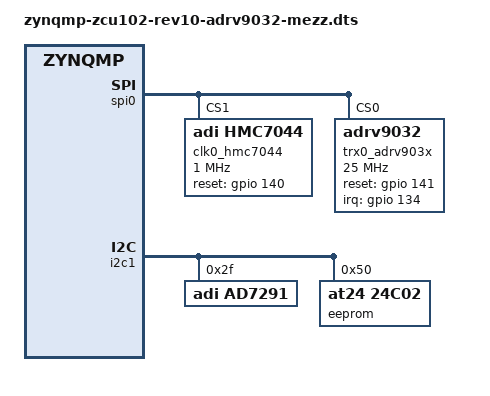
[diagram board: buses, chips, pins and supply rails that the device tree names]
// SPDX-License-Identifier: GPL-2.0
/*
 * Analog Devices ADRV903X
 * https://wiki.analog.com/resources/eval/user-guides/adrv903x
 * https://wiki.analog.com/resources/tools-software/linux-drivers/iio-transceiver/adrv903x
 *
 * hdl_project: <adrv903x/zcu102>
 * board_revision: <>
 *
 * Copyright (C) 2020-2025 Analog Devices Inc.
 */
#include "zynqmp-zcu102-rev1.0.dts"
#include <dt-bindings/interrupt-controller/irq.h>
#include <dt-bindings/iio/adc/adi,adrv903x.h>

#include <dt-bindings/iio/frequency/ad9528.h>
#include <dt-bindings/iio/frequency/hmc7044.h>
#include <dt-bindings/gpio/gpio.h>
#include <dt-bindings/jesd204/adxcvr.h>

&spi0 {
	status = "okay";

	clk0_hmc7044: hmc7044@1 {
		#address-cells = <1>;
		#size-cells = <0>;
		#clock-cells = <1>;
		compatible = "adi,hmc7044";
		reg = <1>;
		spi-max-frequency = <1000000>;

		jesd204-device;
		#jesd204-cells = <2>;
		jesd204-sysref-provider;

		//adi,jesd204-max-sysref-frequency-hz = <2000000>; /* 2 MHz */

		adi,pll1-clkin-frequencies = <122880000 0 0 0>;
		adi,vcxo-frequency = <122880000>;

		adi,pll1-ref-prio-ctrl = <0xE4>; /* prefer CLKIN0 -> CLKIN1 -> CLKIN2 -> CLKIN3 */
		adi,pll1-ref-autorevert-enable;

		adi,pll1-loop-bandwidth-hz = <200>;
		adi,pfd1-maximum-limit-frequency-hz = <30720000>;
		adi,pll1-charge-pump-current-ua = <1920>;

		adi,pll2-output-frequency = <2949120000>;

		adi,sysref-timer-divider = <128>;
		adi,pulse-generator-mode = <HMC7044_PULSE_GEN_8_PULSE>;

		adi,clkin0-buffer-mode  = <0x07>;
		adi,clkin1-buffer-mode  = <0x07>;
		adi,oscin-buffer-mode = <0x15>;

		adi,gpi-controls = <0x00 0x00 0x00 0x00>;
		adi,gpo-controls = <0x37 0x33 0x00 0x00>;

		clock-output-names =
		"hmc7044_out0", "hmc7044_out1", "hmc7044_out2",
		"hmc7044_out3", "hmc7044_out4", "hmc7044_out5",
		"hmc7044_out6", "hmc7044_out7", "hmc7044_out8",
		"hmc7044_out9", "hmc7044_out10", "hmc7044_out11",
		"hmc7044_out12", "hmc7044_out13";

		hmc7044_c0: channel@0 {
			reg = <0>;
			adi,extended-name = "DEV_SYSREF";
			adi,divider = <6>;
			adi,driver-mode = <HMC7044_DRIVER_MODE_LVDS>;
		};
		hmc7044_c1: channel@1 {
			reg = <1>;
			adi,extended-name = "DEV_CLK";
			adi,divider = <6>;
			adi,driver-mode = <HMC7044_DRIVER_MODE_LVDS>;
		};
		hmc7044_c6: channel@6 {
			reg = <6>;
			adi,extended-name = "FPGA_CORE_REFCLK";
			adi,divider = <12>;
			adi,driver-mode = <HMC7044_DRIVER_MODE_LVDS>;
		};
		hmc7044_c7: channel@7 {
			reg = <7>;
			adi,extended-name = "FPGA_CORE_SYSREF";
			adi,divider = <6>;
			adi,driver-mode = <HMC7044_DRIVER_MODE_LVDS>;
		};
		hmc7044_c12: channel@12 {
			reg = <12>;
			adi,extended-name = "FPGA_REFCLK";
			adi,divider = <6>;
			adi,driver-mode = <HMC7044_DRIVER_MODE_LVDS>;
		};
	};

	trx0_adrv903x: adrv903x-phy@0 {
		compatible = "adrv9032";
		reg = <0>;

		#address-cells = <1>;
		#size-cells = <0>;

		/* SPI Setup */
		spi-max-frequency = <25000000>;

		interrupt-parent = <&gpio>;
		interrupts = <134 IRQ_TYPE_EDGE_RISING>; /* adrv903x_gpint1 - CHECK */

		/* Clocks */
		clocks = <&clk0_hmc7044 1>;

		clock-names = "dev_clk";

		clock-output-names = "rx_sampl_clk", "tx_sampl_clk";
		#clock-cells = <1>;

		jesd204-device;
		#jesd204-cells = <2>;
		jesd204-top-device = <0>; /* This is the TOP device */
		jesd204-link-ids = <DEFRAMER0_LINK_TX FRAMER0_LINK_RX>;

		jesd204-inputs =
			<&axi_adrv903x_rx_jesd 0 FRAMER0_LINK_RX>,
			<&axi_adrv903x_core_tx 0 DEFRAMER0_LINK_TX>;

		adi,device-config-name = "ADRV9030_DeviceProfileTest.bin";
		adi,arm-firmware-name = "ADRV9030_FW.bin";
		adi,stream-firmware-name = "ADRV9030_stream_image.bin";
		adi,rx-gaintable-names = "ADRV9030_RxGainTable.csv";
		adi,rx-gaintable-channel-masks = <0xFF>;
		//adi,tx-attntable-names = "ADRV903X_TxAttenTable.csv";
		//adi,tx-attntable-channel-masks = <0x0F>;
	};
};

&i2c1 {
	i2c-mux@75 {
		i2c@1 { /* HPC1 */
			#address-cells = <1>;
			#size-cells = <0>;
			reg = <1>;
			/* HPC0_IIC */
			ad7291@2f {
				compatible = "adi,ad7291";
				reg = <0x2f>;
			};

			eeprom@50 {
				compatible = "at24,24c02";
				reg = <0x50>;
			};
		};
	};
};


/ {
	fpga_axi: fpga-axi@0 {
		interrupt-parent = <&gic>;
		compatible = "simple-bus";
		#address-cells = <0x1>;
		#size-cells = <0x1>;
		ranges = <0 0 0 0xffffffff>;

		rx_dma: dma@9c400000 {
			compatible = "adi,axi-dmac-1.00.a";
			reg = <0x9c400000 0x1000>;
			#dma-cells = <1>;
			#clock-cells = <0>;
			dma-coherent;
			interrupts = <0 110 IRQ_TYPE_LEVEL_HIGH>;
			clocks = <&zynqmp_clk 73>;
		};

		tx_dma: dma@9c420000  {
			compatible = "adi,axi-dmac-1.00.a";
			reg = <0x9c420000 0x1000>;
			#dma-cells = <1>;
			#clock-cells = <0>;
			dma-coherent;
			interrupts = <0 109 IRQ_TYPE_LEVEL_HIGH>;
			clocks = <&zynqmp_clk 73>;
		};

		axi_rx_clkgen: axi-clkgen@83c10000 {
			compatible = "adi,axi-clkgen-2.00.a";
			reg = <0x83c10000 0x10000>;
			#clock-cells = <0>;
			clocks = <&clk0_hmc7044 6>, <&zynqmp_clk 71>;
			clock-names = "clkin1", "s_axi_aclk";
			clock-output-names = "axi_rx_clkgen";
		};

		axi_tx_clkgen: axi-clkgen@83c00000 {
			compatible = "adi,axi-clkgen-2.00.a";
			reg = <0x83c00000 0x10000>;
			#clock-cells = <0>;
			clocks = <&clk0_hmc7044 6>, <&zynqmp_clk 71>;
			clock-names = "clkin1", "s_axi_aclk";
			clock-output-names = "axi_tx_clkgen";
		};

		axi_adrv903x_core_rx: axi-adrv903x-rx-hpc@84a00000 {
			compatible = "adi,axi-adc-10.0.a";
			reg = <0x84a00000 0x6000>;
			dmas = <&rx_dma 0>;
			dma-names = "rx";
			spibus-connected = <&trx0_adrv903x>;
		};

		axi_adrv903x_core_tx: axi-adrv903x-tx-hpc@84a04000 {
			compatible = "adi,axi-adrv903x-tx-1.0";
			reg = <0x84a04000 0x2000>;
			dmas = <&tx_dma 0>;
			dma-names = "tx";
			clocks = <&trx0_adrv903x 1>;
			clock-names = "sampl_clk";
			adi,axi-pl-fifo-enable;
			adi,axi-data-offload-connected = <&axi_data_offload_tx>;

			jesd204-device;
			#jesd204-cells = <2>;
			jesd204-inputs = <&axi_adrv903x_tx_jesd 0 DEFRAMER0_LINK_TX>;
		};

		axi_adrv903x_rx_jesd: axi-jesd204-rx@84aa0000 {
			compatible = "adi,axi-jesd204-rx-1.0";
			reg = <0x84aa0000 0x4000>;

			interrupts = <0 107 IRQ_TYPE_LEVEL_HIGH>;

			clocks = <&zynqmp_clk 71>, <&axi_rx_clkgen>, <&axi_adrv903x_adxcvr_rx 0>;
			clock-names = "s_axi_aclk", "device_clk", "lane_clk";

			#clock-cells = <0>;
			clock-output-names = "jesd_rx_lane_clk";

			jesd204-device;
			#jesd204-cells = <2>;
			jesd204-inputs = <&axi_adrv903x_adxcvr_rx 0 FRAMER0_LINK_RX>;
		};

		axi_adrv903x_tx_jesd: axi-jesd204-tx@84a90000 {
			compatible = "adi,axi-jesd204-tx-1.0";
			reg = <0x84a90000 0x4000>;

			interrupts = <0 106 IRQ_TYPE_LEVEL_HIGH>;

			clocks = <&zynqmp_clk 71>, <&axi_tx_clkgen>, <&axi_adrv903x_adxcvr_tx 0>;
			clock-names = "s_axi_aclk", "device_clk", "lane_clk";

			#clock-cells = <0>;
			clock-output-names = "jesd_tx_lane_clk";

			jesd204-device;
			#jesd204-cells = <2>;
			jesd204-inputs = <&axi_adrv903x_adxcvr_tx 0 DEFRAMER0_LINK_TX>;

		};

		axi_adrv903x_adxcvr_rx: axi-adxcvr-rx@84a60000 {
			#address-cells = <1>;
			#size-cells = <0>;
			compatible = "adi,axi-adxcvr-1.0";
			reg = <0x84a60000 0x10000>;

			clocks = <&clk0_hmc7044 12>;
			clock-names = "conv";

			#clock-cells = <1>;
			clock-output-names = "rx_gt_clk", "rx_out_clk";

			adi,sys-clk-select = <XCVR_QPLL>;
			adi,out-clk-select = <XCVR_REFCLK>;

			jesd204-device;
			#jesd204-cells = <2>;
			jesd204-inputs =  <&clk0_hmc7044 0 FRAMER0_LINK_RX>;

		};

		axi_adrv903x_adxcvr_tx: axi-adxcvr-tx@84a80000 {
			#address-cells = <1>;
			#size-cells = <0>;
			compatible = "adi,axi-adxcvr-1.0";
			reg = <0x84a80000 0x1000>;

			clocks = <&clk0_hmc7044 12>;
			clock-names = "conv";

			#clock-cells = <1>;
			clock-output-names = "tx_gt_clk", "tx_out_clk";

			adi,sys-clk-select = <XCVR_QPLL>;
			adi,out-clk-select = <XCVR_REFCLK>;

			jesd204-device;
			#jesd204-cells = <2>;
			jesd204-inputs =  <&clk0_hmc7044 0 DEFRAMER0_LINK_TX>;

		};

		axi_sysid_0: axi-sysid-0@85000000 {
			compatible = "adi,axi-sysid-1.00.a";
			reg = <0x85000000 0x10000>;
		};

		axi_data_offload_tx: axi-data-offload-0@9c440000 {
			compatible = "adi,axi-data-offload-1.0.a";
			reg = <0x9c440000 0x10000>;
		};

		axi_data_offload_rx: axi-data-offload-1@9c450000 {
			compatible = "adi,axi-data-offload-1.0.a";
			reg = <0x9c450000 0x10000>;
		};
	};
};

&trx0_adrv903x {
	reset-gpios = <&gpio 141 0>; // 63
};

&clk0_hmc7044 {
	reset-gpios = <&gpio 140 0>; // 62
};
